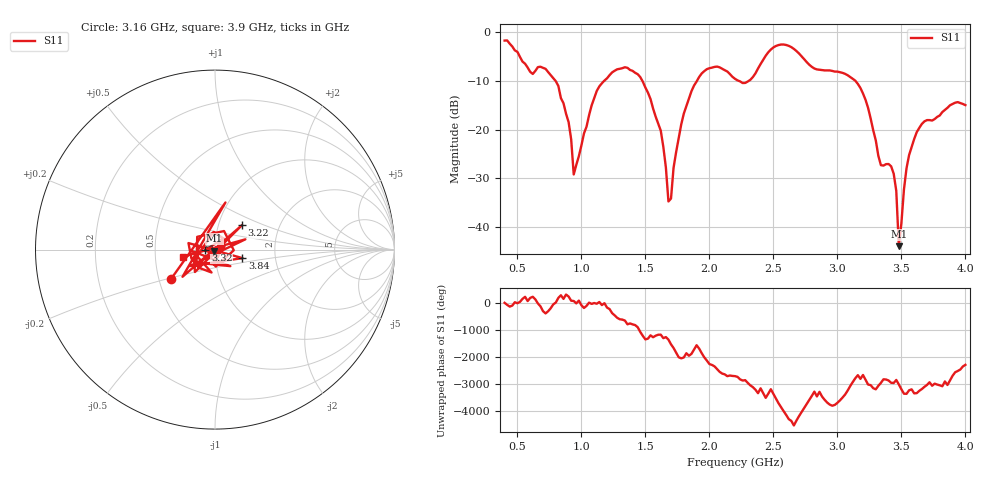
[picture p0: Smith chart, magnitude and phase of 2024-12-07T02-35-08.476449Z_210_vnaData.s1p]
!Created with skrf (http://scikit-rf.org).
# Hz S RI R 50.0
!freq ReS11 ImS11
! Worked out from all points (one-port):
!   181 points, 400 MHz to 4 GHz, reference 50 ohm
!   lowest |S11| = -43.9 dB at 3.48 GHz (marker M1), VSWR 1.01, Z = 49.6 - j0.498 ohm
!   |S11| at or under -10 dB: 799.7 MHz to 1.176 GHz (376.1 MHz wide, 38.1 % of centre); 1.477 GHz to 1.902 GHz (424.2 MHz wide, 25.1 % of centre); 3.143 GHz to end of sweep (the widest 3 of 4)
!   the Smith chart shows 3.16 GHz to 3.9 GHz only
!   S11 on the Smith chart (normalised r, x): 3.16 GHz: 0.58, -0.21; 3.22 GHz: 1.30, +0.37; 3.32 GHz: 0.90, -0.01; 3.84 GHz: 1.35, -0.13; 3.9 GHz: 0.69, -0.06
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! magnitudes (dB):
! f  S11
! 400 MHz  -1.7
! 620 MHz  -8.5
! 720 MHz  -7.5
! 860 MHz  -14.5
! 920 MHz  -21.9
! 940 MHz  -29.2
! 1.12 GHz  -12.0
! 1.3 GHz  -7.5
! 1.54 GHz  -13.7
! 1.62 GHz  -20.2
! 1.68 GHz  -34.7
! 1.7 GHz  -34.1
! 1.76 GHz  -21.7
! 1.94 GHz  -8.4
! 2.2 GHz  -9.5
! 2.66 GHz  -3.4
! 3.1 GHz  -9.1
! 3.16 GHz  -10.6
! 3.22 GHz  -13.8
! 3.32 GHz  -25.4
! 3.44 GHz  -29.0
! 3.46 GHz  -32.6
! 3.48 GHz  -43.9
! 3.56 GHz  -25.2
! 3.66 GHz  -18.8
! 3.84 GHz  -15.9
! 3.9 GHz  -14.7
! 4 GHz  -14.9
